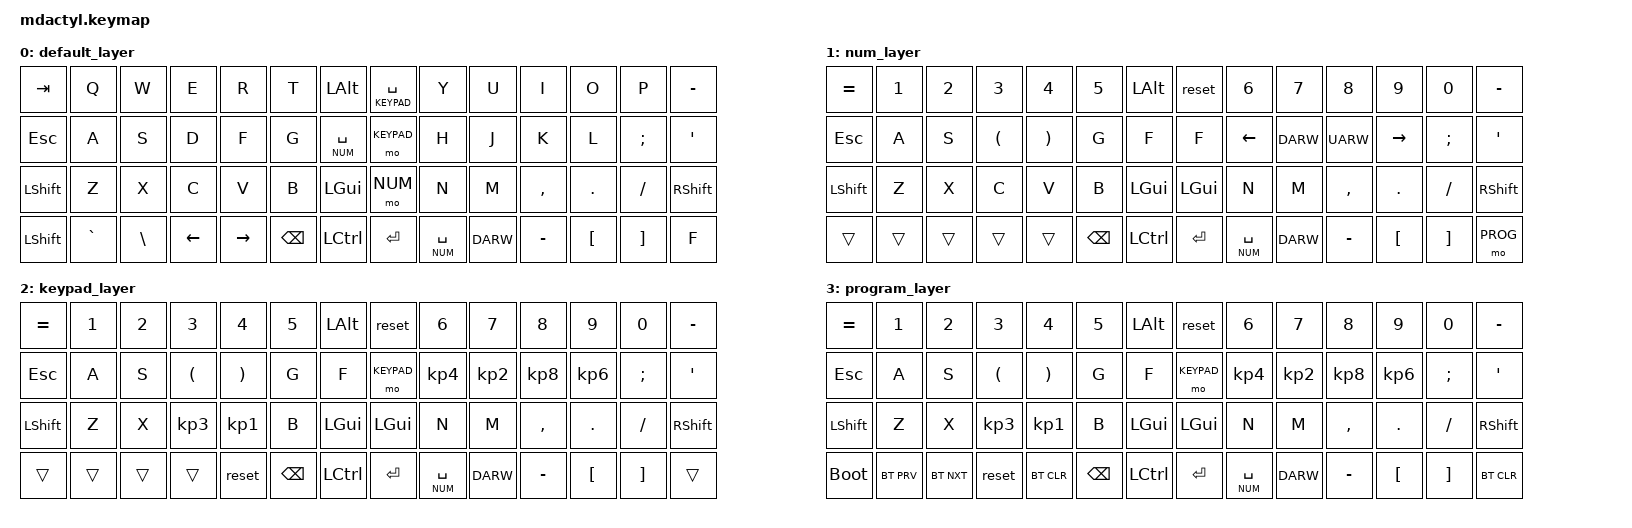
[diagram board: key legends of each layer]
#include <behaviors.dtsi>
#include <dt-bindings/zmk/keys.h>
#include <dt-bindings/zmk/bt.h>
#define DEFAULT 0
#define NUM     1
#define KEYPAD  2
#define PROG    3

&mt {
    quick_tap_ms = <300>;
};



/ {
    behaviors {
        hp: hold_preferred {
            compatible = "zmk,behavior-hold-tap";
            label = "HOLD_PREF_MODS";
            #binding-cells = <2>;
            tapping-term-ms = <150>;
            quick_tap_ms = <300>;
            flavor = "hold-preferred";
            bindings = <&mo>, <&kp>;
        };
    };
    keymap {
        compatible = "zmk,keymap";

        default_layer {
//
// ,-----------------------------------------.                    ,-----------------------------------------.
// | Del  |   Q  |   W  |   E  |   R  |   T  |                    |   Y  |   U  |   I  |   O  |   P  |  \   |
// |------+------+------+------+------+------|                    |------+------+------+------+------+------|
// | BkSp |   A  |   S  |   D  |   F  |   G  |                    |   H  |   J  |   K  |   L  |; / L2|'/Cmd |
// |------+------+------+------+------+------|                    |------+------+------+------+------+------|
// |LShift|Z/Ctrl|   X  |   C  |   V  |  2,5 |                    |   N  |   M  |   ,  |   .  |//Ctrl|RShift|
// |------+------+------+------+------+------'                    `------+------+------+------+------+------|
// |Grv/L1|  '"  |AltShf| Left | Right|                                  |  Up  | Down |   [  |   ]  | ~L1  |
// `----------------------------------'                                  `----------------------------------'
//                                      ,-------------.  ,-------------.
//                                      | cmd  | opt  |  | Alt  | ^/Esc|
//                               ,------|------|------|  |------+------+------.
//                               |      |      |      |  |      |      |      |
//                               |      |      |      |  |      |  Tab |Enter |
//                               |back  | ctrl | F    |  | PgDn |      |      |
//                               `--------------------'  `--------------------'
// See https://github.com/zmkfirmware/zmk/blob/main/app/include/dt-bindings/zmk/keys.h for keybindings
//
          bindings = <
    &kp TAB     &kp Q       &kp W       &kp E       &kp R    &kp T    &kp LALT          &hp KEYPAD SPC &kp Y       &kp U     &kp I     &kp O      &kp P    &kp MINUS
    &kp ESC     &kp A       &kp S       &kp D       &kp F    &kp G    &lt NUM SPC       &mo KEYPAD     &kp H       &kp J     &kp K     &kp L      &kp SEMI &kp SQT
    &kp LSHFT   &kp Z       &kp X       &kp C       &kp V    &kp B    &kp LGUI          &mo NUM        &kp N       &kp M     &kp COMMA &kp DOT    &kp FSLH &kp RSHFT
    &kp LSHFT   &kp GRAVE   &kp BSLH    &kp LEFT    &kp RIGHT &kp BKSP &kp LCTRL        &kp RET        &lt NUM SPC &kp DARW   &kp MINUS &kp LBKT   &kp RBKT &kp F
          >;
        };



        num_layer {
//
// ,-----------------------------------------.                    ,-----------------------------------------.
// | Del  |   Q  |   W  |   E  |   R  |   T  |                    |   Y  |   U  |   I  |   O  |   P  |  \   |
// |------+------+------+------+------+------|                    |------+------+------+------+------+------|
// | BkSp |   A  |   S  |   D  |   F  |   G  |                    |   H  |   J  |   K  |   L  |; / L2|'/Cmd |
// |------+------+------+------+------+------|                    |------+------+------+------+------+------|
// |LShift|Z/Ctrl|   X  |   C  |   V  |  2,5 |                    |   N  |   M  |   ,  |   .  |//Ctrl|RShift|
// |------+------+------+------+------+------'                    `------+------+------+------+------+------|
// |Grv/L1|  '"  |AltShf| Left | Right|                                  |  Up  | Down |   [  |   ]  | ~L1  |
// `----------------------------------'                                  `----------------------------------'
//                                      ,-------------.  ,-------------.
//                                      | cmd  | opt  |  | Alt  | ^/Esc|
//                               ,------|------|------|  |------+------+------.
//                               |      |      |      |  |      |      |      |
//                               |      |      |      |  |      |  Tab |Enter |
//                               |back  | ctrl | F    |  | PgDn |      |      |
//                               `--------------------'  `--------------------'
// See https://github.com/zmkfirmware/zmk/blob/main/app/include/dt-bindings/zmk/keys.h for keybindings
//
          bindings = <
    &kp EQUAL   &kp N1      &kp N2      &kp N3      &kp N4    &kp N5   &kp LALT          &reset    &kp N6      &kp N7    &kp N8    &kp N9     &kp N0   &kp MINUS
    &kp ESC     &kp A       &kp S       &kp LPAR    &kp RPAR  &kp G    &kp F             &kp F     &kp LEFT    &kp DARW  &kp UARW  &kp RIGHT  &kp SEMI &kp SQT
    &kp LSHFT   &kp Z       &kp X       &kp C       &kp V     &kp B    &kp LGUI          &kp LGUI  &kp N       &kp M     &kp COMMA &kp DOT    &kp FSLH &kp RSHFT
    &trans      &trans      &trans      &trans      &trans    &kp BKSP &kp LCTRL         &kp RET   &hp NUM SPC &kp DARW  &kp MINUS &kp LBKT   &kp RBKT &mo PROG
          >;
        };

    keypad_layer {
                  bindings = <
    &kp EQUAL   &kp N1      &kp N2      &kp N3      &kp N4    &kp N5   &kp LALT          &reset     &kp N6      &kp N7    &kp N8    &kp N9     &kp N0   &kp MINUS
    &kp ESC     &kp A       &kp S       &kp LPAR    &kp RPAR  &kp G    &kp F             &mo KEYPAD &kp KP_N4   &kp KP_N2 &kp KP_N8  &kp KP_N6  &kp SEMI &kp SQT
    &kp LSHFT   &kp Z       &kp X       &kp KP_N3   &kp KP_N1     &kp B    &kp LGUI          &kp LGUI   &kp N       &kp M     &kp COMMA &kp DOT    &kp FSLH &kp RSHFT
    &trans &trans  &trans  &trans      &reset    &kp BKSP &kp LCTRL         &kp RET    &hp NUM SPC &kp DARW  &kp MINUS &kp LBKT   &kp RBKT &trans
          >;
        };

    program_layer {
                  bindings = <
    &kp EQUAL   &kp N1      &kp N2      &kp N3      &kp N4    &kp N5   &kp LALT          &reset     &kp N6      &kp N7    &kp N8    &kp N9     &kp N0   &kp MINUS
    &kp ESC     &kp A       &kp S       &kp LPAR    &kp RPAR  &kp G    &kp F             &mo KEYPAD &kp KP_N4   &kp KP_N2 &kp KP_N8  &kp KP_N6  &kp SEMI &kp SQT
    &kp LSHFT   &kp Z       &kp X       &kp KP_N3   &kp KP_N1     &kp B    &kp LGUI          &kp LGUI   &kp N       &kp M     &kp COMMA &kp DOT    &kp FSLH &kp RSHFT
    &bootloader &bt BT_PRV  &bt BT_NXT  &reset      &bt BT_CLR      &kp BKSP &kp LCTRL         &kp RET    &hp NUM SPC &kp DARW  &kp MINUS &kp LBKT   &kp RBKT &bt BT_CLR
          >;
        };
    };
};
